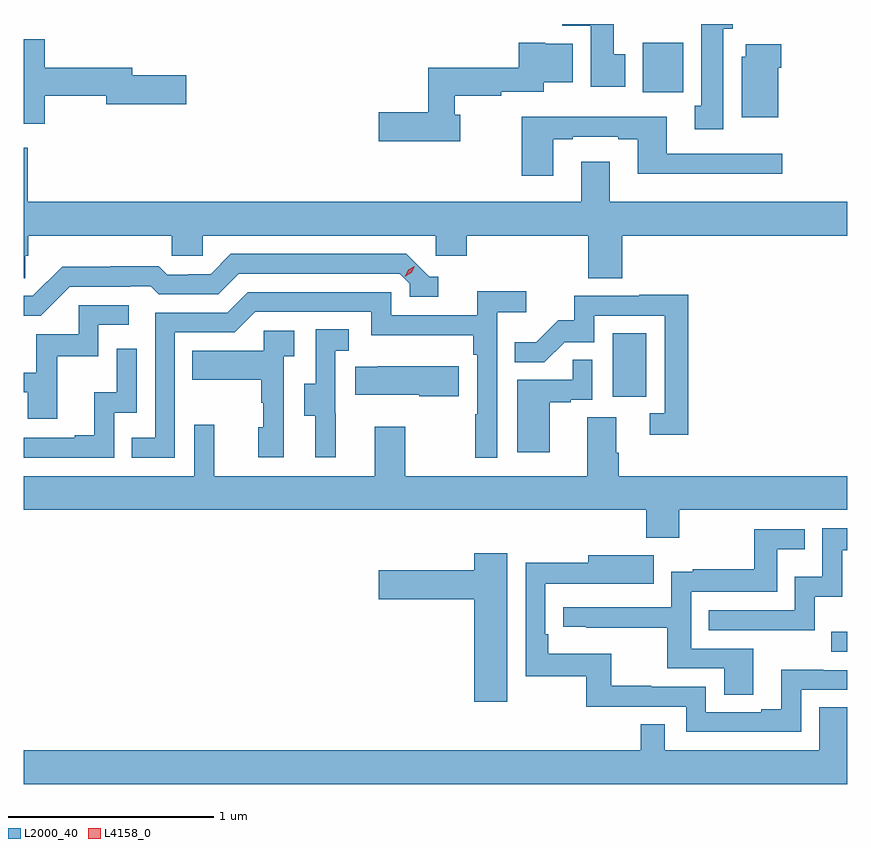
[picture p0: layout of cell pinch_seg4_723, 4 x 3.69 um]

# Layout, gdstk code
import gdstk
lib = gdstk.Library(unit=1e-6, precision=1e-09)
def R(c, l, rs):  # rectangles x0, y0, x1, y1
    for r in rs: c.add(gdstk.rectangle(r[:2], r[2:], *l))
def P(c, l, *ps):  # polygons
    for p in ps: c.add(gdstk.Polygon(p, *l))
L2000_40 = (2000, 40)
L4158_0 = (4158, 0)

pinch_seg4_723 = lib.new_cell('pinch_seg4_723')
R(pinch_seg4_723, L2000_40, [(845.523,826.767,845.6,826.864), (844.46,828.006,844.624,828.313), (844.607,829.484,844.804,829.726)])
P(pinch_seg4_723, L2000_40, [(844.522,829.668),(844.465,829.668),(844.465,829.816),(844.216,829.816),(844.216,829.808),(844.355,829.808),(844.355,829.512),(844.522,829.512)],
  [(844.999,829.794),(845.044,829.794),(845.044,829.816),(844.575,829.816),(844.575,829.814),(844.892,829.814),(844.892,829.418),(844.859,829.418),(844.859,829.305),(844.999,829.305)],
  [(841.702,829.468),(842,829.468),(842,829.426),(842.389,829.426),(842.389,829.568),(842.128,829.568),(842.128,829.604),(841.702,829.604),(841.702,829.741),(841.6,829.741),(841.6,829.331),(841.702,829.331)],
  [(843.72,829.375),(843.694,829.375),(843.694,829.468),(843.92,829.468),(843.92,829.488),(844.126,829.488),(844.126,829.532),(844.267,829.532),(844.267,829.72),(844.134,829.72),(844.134,829.726),(844.004,829.726),(844.004,829.604),(843.565,829.604),(843.565,829.388),(843.324,829.388),(843.324,829.246),(843.72,829.246)],
  [(845.266,829.604),(845.279,829.604),(845.279,829.717),(845.108,829.717),(845.108,829.656),(845.087,829.656),(845.087,829.364),(845.266,829.364)],
  [(844.171,829.257),(844.267,829.257),(844.267,829.269),(844.487,829.269),(844.487,829.257),(844.583,829.257),(844.583,829.088),(845.284,829.088),(845.284,829.185),(844.723,829.185),(844.723,829.366),(844.019,829.366),(844.019,829.08),(844.171,829.08)],
  [(841.607,828.69),(841.622,828.69),(841.622,828.788),(842.319,828.788),(842.319,828.69),(842.469,828.69),(842.469,828.788),(843.6,828.788),(843.6,828.69),(843.752,828.69),(843.752,828.788),(844.343,828.788),(844.343,828.58),(844.508,828.58),(844.508,828.788),(845.6,828.788),(845.6,828.952),(844.447,828.952),(844.447,829.147),(844.307,829.147),(844.307,828.952),(841.619,828.952),(841.619,829.216),(841.6,829.216),(841.6,828.58),(841.607,828.58)],
  [(841.824,828.54),(842.117,828.54),(842.117,828.543),(842.216,828.543),(842.255,828.504),(842.544,828.504),(842.643,828.603),(843.426,828.603),(843.474,828.555),(843.474,828.492),(843.613,828.492),(843.613,828.588),(843.57,828.588),(843.459,828.699),(842.606,828.699),(842.507,828.6),(842.4,828.6),(842.4,828.597),(842.297,828.597),(842.255,828.64),(842.022,828.64),(842.022,828.637),(841.786,828.637),(841.644,828.495),(841.6,828.495),(841.6,828.399),(841.683,828.399)],
  [(842.334,828.318),(842.625,828.318),(842.724,828.417),(843.288,828.417),(843.288,828.305),(843.784,828.305),(843.784,828.209),(843.804,828.209),(843.804,827.921),(843.792,827.921),(843.792,827.709),(843.9,827.709),(843.9,828.416),(844.042,828.416),(844.042,828.518),(843.803,828.518),(843.803,828.402),(843.384,828.402),(843.384,828.513),(842.687,828.513),(842.588,828.414),(842.238,828.414),(842.238,827.805),(842.125,827.805),(842.125,827.709),(842.334,827.709)],
  [(844.829,828.5),(844.591,828.5),(844.591,828.495),(844.273,828.495),(844.273,828.378),(844.196,828.378),(844.089,828.271),(843.985,828.271),(843.985,828.172),(844.129,828.172),(844.227,828.27),(844.371,828.27),(844.371,828.399),(844.713,828.399),(844.713,827.925),(844.641,827.925),(844.641,827.82),(844.829,827.82)],
  [(841.763,828.201),(841.962,828.201),(841.962,828.354),(842.11,828.354),(842.11,828.45),(841.866,828.45),(841.866,828.309),(841.661,828.309),(841.661,828.123),(841.6,828.123),(841.6,828.027),(841.619,828.027),(841.619,827.898),(841.763,827.898)],
  [(843.116,827.925),(843.114,827.925),(843.114,828.229),(843.178,828.229),(843.178,828.332),(843.018,828.332),(843.018,828.069),(842.963,828.069),(842.963,827.914),(843.017,827.914),(843.017,827.712),(843.116,827.712)],
  [(842.862,828.203),(842.914,828.203),(842.914,828.327),(842.766,828.327),(842.766,828.229),(842.419,828.229),(842.419,828.089),(842.754,828.089),(842.754,827.975),(842.764,827.975),(842.764,827.856),(842.738,827.856),(842.738,827.712),(842.862,827.712)],
  [(842.04,827.928),(842.148,827.928),(842.148,828.238),(842.052,828.238),(842.052,828.026),(841.943,828.026),(841.943,827.818),(841.847,827.818),(841.847,827.805),(841.6,827.805),(841.6,827.709),(842.04,827.709)],
  [(844.156,827.979),(844.256,827.979),(844.256,827.991),(844.362,827.991),(844.362,828.185),(844.267,828.185),(844.267,828.087),(843.998,828.087),(843.998,827.736),(844.156,827.736)],
  [(843.712,828.154),(843.319,828.154),(843.319,828.151),(843.211,828.151),(843.211,828.014),(843.521,828.014),(843.521,828.007),(843.712,828.007)],
  [(844.785,827.456),(845.6,827.456),(845.6,827.62),(844.49,827.62),(844.49,827.732),(844.477,827.732),(844.477,827.906),(844.337,827.906),(844.337,827.62),(843.453,827.62),(843.453,827.86),(843.305,827.86),(843.305,827.62),(842.525,827.62),(842.525,827.869),(842.427,827.869),(842.427,827.62),(841.6,827.62),(841.6,827.456),(844.625,827.456),(844.625,827.321),(844.785,827.321)],
  [(845.442,827.033),(845.575,827.033),(845.575,827.259),(845.6,827.259),(845.6,827.367),(845.478,827.367),(845.478,827.131),(845.346,827.131),(845.346,826.968),(844.927,826.968),(844.927,826.872),(845.442,826.872)],
  [(845.143,826.782),(844.842,826.782),(844.842,827.058),(845.259,827.058),(845.259,827.264),(845.393,827.264),(845.393,827.361),(845.148,827.361),(845.148,827.167),(844.849,827.167),(844.849,827.155),(844.746,827.155),(844.746,826.983),(844.221,826.983),(844.221,826.887),(844.333,826.887),(844.333,826.882),(844.726,826.882),(844.726,826.686),(845.003,826.686),(845.003,826.558),(845.143,826.558)],
  [(843.949,827.245),(843.788,827.245),(843.788,827.163),(843.324,827.163),(843.324,827.021),(843.788,827.021),(843.788,826.524),(843.949,826.524)],
  [(845.376,826.581),(845.6,826.581),(845.6,826.677),(845.484,826.677),(845.484,826.679),(845.279,826.679),(845.279,826.486),(845.183,826.486),(845.183,826.473),(844.914,826.473),(844.914,826.596),(844.649,826.596),(844.649,826.601),(844.453,826.601),(844.453,826.756),(844.148,826.756),(844.148,826.852),(844.134,826.852),(844.134,827.097),(844.447,827.097),(844.447,827.096),(844.661,827.096),(844.661,827.236),(844.343,827.236),(844.343,827.198),(844.038,827.198),(844.038,826.647),(844.332,826.647),(844.332,826.5),(844.818,826.5),(844.818,826.377),(845.376,826.377)],
  [(845.6,826.496),(845.465,826.496),(845.465,826.288),(844.713,826.288),(844.713,826.415),(844.597,826.415),(844.597,826.288),(841.6,826.288),(841.6,826.124),(845.6,826.124)])
P(pinch_seg4_723, L4158_0, [(843.451,828.588),(843.451,828.588),(843.467,828.621),(843.498,828.64),(843.498,828.64),(843.498,828.64),(843.482,828.607),(843.451,828.588)])

lib.write_gds('pinch_seg4_723.gds')
